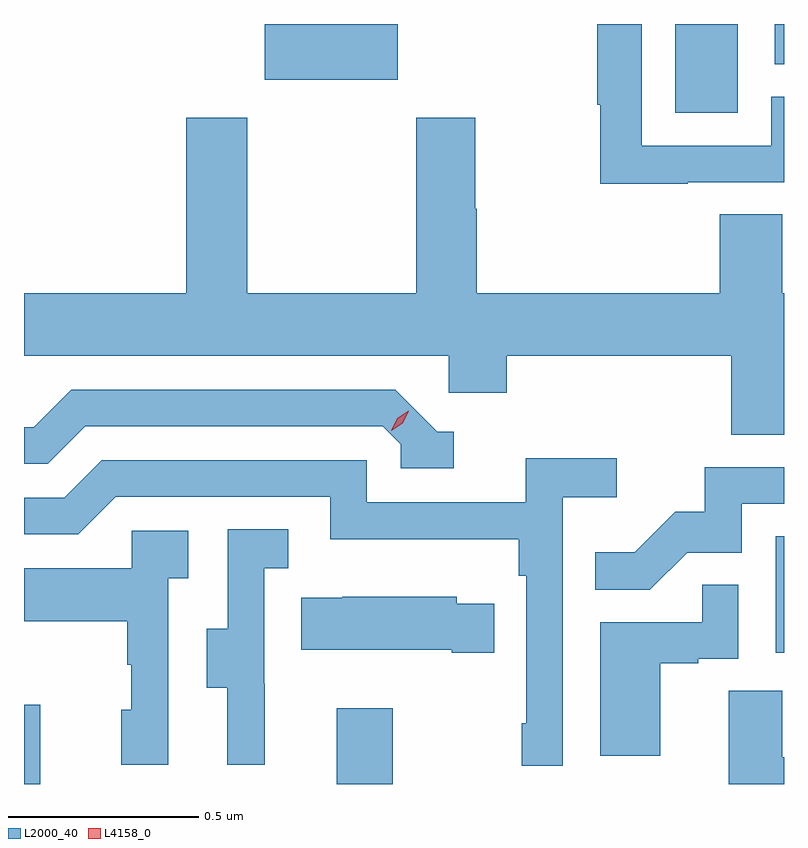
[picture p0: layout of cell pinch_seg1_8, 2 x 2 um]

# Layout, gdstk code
import gdstk
lib = gdstk.Library(unit=1e-6, precision=1e-09)
def R(c, l, rs):  # rectangles x0, y0, x1, y1
    for r in rs: c.add(gdstk.rectangle(r[:2], r[2:], *l))
def P(c, l, *ps):  # polygons
    for p in ps: c.add(gdstk.Polygon(p, *l))
L2000_40 = (2000, 40)
L4158_0 = (4158, 0)

pinch_seg1_8 = lib.new_cell('pinch_seg1_8')
R(pinch_seg1_8, L2000_40, [(1082.908,571.917,1082.951,572.125), (1083.731,571.917,1083.879,572.116), (1084.886,572.262,1084.908,572.569), (1084.622,573.684,1084.786,573.917), (1083.542,573.77,1083.892,573.917), (1084.884,573.811,1084.908,573.917)])
P(pinch_seg1_8, L2000_40, [(1084.655,573.501),(1084.908,573.501),(1084.908,573.726),(1084.875,573.726),(1084.875,573.597),(1084.533,573.597),(1084.533,573.917),(1084.417,573.917),(1084.417,573.704),(1084.425,573.704),(1084.425,573.496),(1084.655,573.496)],
  [(1084.908,573.208),(1084.904,573.208),(1084.904,573.416),(1084.739,573.416),(1084.739,573.208),(1084.1,573.208),(1084.1,573.431),(1084.095,573.431),(1084.095,573.67),(1083.94,573.67),(1083.94,573.208),(1083.495,573.208),(1083.495,573.67),(1083.335,573.67),(1083.335,573.208),(1082.908,573.208),(1082.908,573.044),(1084.026,573.044),(1084.026,572.946),(1084.178,572.946),(1084.178,573.044),(1084.769,573.044),(1084.769,572.836),(1084.908,572.836)],
  [(1084.039,572.844),(1083.996,572.844),(1083.885,572.955),(1083.032,572.955),(1082.933,572.856),(1082.908,572.856),(1082.908,572.76),(1082.97,572.76),(1083.069,572.859),(1083.852,572.859),(1083.9,572.811),(1083.9,572.748),(1084.039,572.748)],
  [(1084.326,572.672),(1084.468,572.672),(1084.468,572.774),(1084.229,572.774),(1084.229,572.658),(1083.81,572.658),(1083.81,572.769),(1083.113,572.769),(1083.014,572.67),(1082.908,572.67),(1082.908,572.574),(1083.051,572.574),(1083.15,572.673),(1083.714,572.673),(1083.714,572.561),(1084.21,572.561),(1084.21,572.465),(1084.23,572.465),(1084.23,572.077),(1084.218,572.077),(1084.218,571.965),(1084.326,571.965)],
  [(1084.653,572.526),(1084.797,572.526),(1084.797,572.655),(1084.908,572.655),(1084.908,572.751),(1084.699,572.751),(1084.699,572.634),(1084.622,572.634),(1084.515,572.527),(1084.411,572.527),(1084.411,572.428),(1084.555,572.428)],
  [(1083.542,572.181),(1083.54,572.181),(1083.54,572.485),(1083.604,572.485),(1083.604,572.588),(1083.444,572.588),(1083.444,572.325),(1083.389,572.325),(1083.389,572.17),(1083.443,572.17),(1083.443,571.968),(1083.542,571.968)],
  [(1083.288,572.459),(1083.34,572.459),(1083.34,572.583),(1083.192,572.583),(1083.192,572.485),(1082.908,572.485),(1082.908,572.345),(1083.18,572.345),(1083.18,572.231),(1083.19,572.231),(1083.19,572.112),(1083.164,572.112),(1083.164,571.968),(1083.288,571.968)],
  [(1084.582,572.235),(1084.682,572.235),(1084.682,572.247),(1084.788,572.247),(1084.788,572.441),(1084.693,572.441),(1084.693,572.343),(1084.424,572.343),(1084.424,571.992),(1084.582,571.992)],
  [(1084.145,572.392),(1084.047,572.392),(1084.047,572.41),(1083.745,572.41),(1083.745,572.407),(1083.637,572.407),(1083.637,572.27),(1084.034,572.27),(1084.034,572.263),(1084.145,572.263)],
  [(1084.908,571.988),(1084.903,571.988),(1084.903,572.162),(1084.763,572.162),(1084.763,571.917),(1084.908,571.917)])
P(pinch_seg1_8, L4158_0, [(1083.874,572.847),(1083.874,572.848),(1083.89,572.88),(1083.921,572.899),(1083.921,572.899),(1083.921,572.899),(1083.905,572.866),(1083.874,572.847)])

lib.write_gds('pinch_seg1_8.gds')
